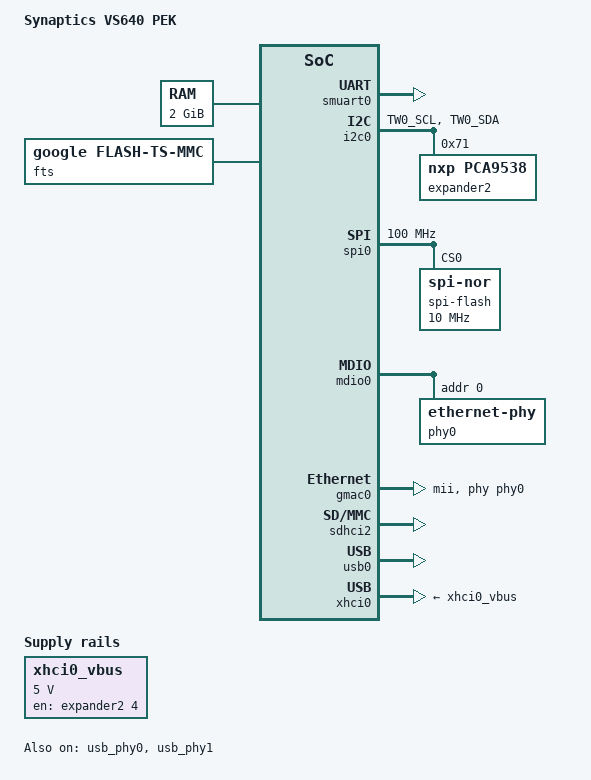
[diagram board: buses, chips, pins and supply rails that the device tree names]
/* SPDX-License-Identifier: GPL-2.0+ */
/*
 * Copyright (C) 2019 Synaptics Incorporated
 *
 * Author: Shaojun Feng <Shaojun.Feng@synaptics.com>
 *
 */

/dts-v1/;

#include "vs640.dtsi"
#include "include/dt-bindings/gpio/gpio.h"

/ {
	model = "Synaptics VS640 PEK";
	compatible = "Synaptics,vs640", "Synaptics,asserial";

	memory {
		device_type = "memory";
		reg = <0 0 0 0x80000000>;
	};

	fts {
		compatible = "google,flash-ts-mmc";
	};

	chosen {
        stdout-path = &smuart0;
    };

	regulators {
		compatible = "simple-bus";
		#address-cells = <1>;
		#size-cells = <0>;

		xhci0_vbus: xhci0_vbus {
			compatible = "regulator-fixed";
			regulator-name = "xhci0_vbus";
			regulator-min-microvolt = <5000000>;
			regulator-max-microvolt = <5000000>;
			gpio = <&expander2 4 GPIO_ACTIVE_HIGH>;
			enable-active-high;
		};
	};
};

&pinctrl {
	soc_i2c_tw0_pmux: soc_i2c_tw0_pmux {
		groups = "TW0_SCL", "TW0_SDA";
		function = "tw0";
	};
};

&smuart0 {
	status = "okay";
};

&i2c0 {
	status = "okay";
	pinctrl-names = "default";
	pinctrl-0 = <&soc_i2c_tw0_pmux>;
	expander2: gpio@71 {
		compatible = "nxp,pca9538";
		reg = <0x71>;
		gpio-controller;
		#gpio-cells = <2>;
	};
};

&spi0 {
	status = "okay";
	max-write-size = <128>;
	clock-frequency = <100000000>;
	spi-flash@0 {
		#address-cells = <1>;
		#size-cells = <1>;
		compatible = "jedec,spi-nor";
		reg = <0>;
		memory-map = <0x0 0xf0000000 0x0 0x4000000>;
		spi-max-frequency = <10000000>;
        };
};

&mdio0 {
	phy0: ethernet-phy@0 {
		reg = <0>;
	};
};

&gmac0 {
	status = "okay";
	max-speed = <10>;
	phy-mode = "mii";
	phy-handle = <&phy0>;
	phy = <&phy0>;
};

&sdhci2 {
    status = "okay";
	max-frequency = <50000000>;
	cap-mmc-highspeed;
	1_8v-signalling;
};

&usb_phy0 {
	status = "okay";
};

&usb0 {
	status = "okay";
};

&usb_phy1 {
	status = "okay";
};

&xhci0 {
	vbus-supply = <&xhci0_vbus>;
	status = "okay";
};
